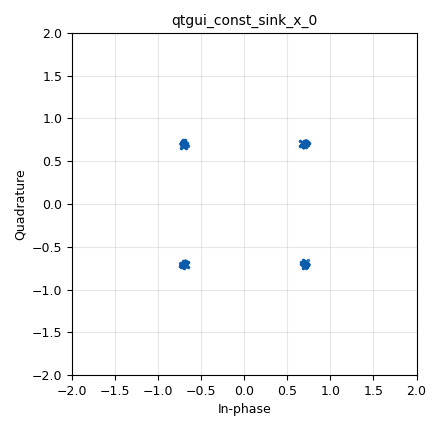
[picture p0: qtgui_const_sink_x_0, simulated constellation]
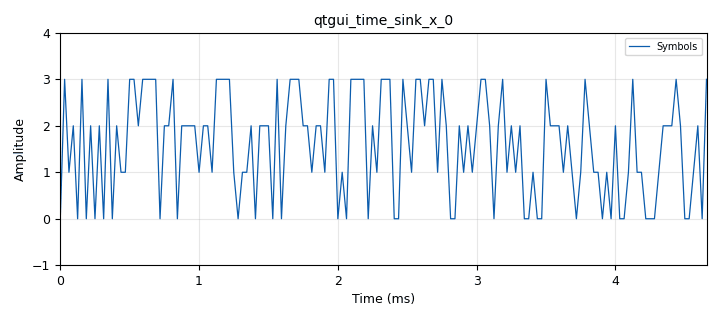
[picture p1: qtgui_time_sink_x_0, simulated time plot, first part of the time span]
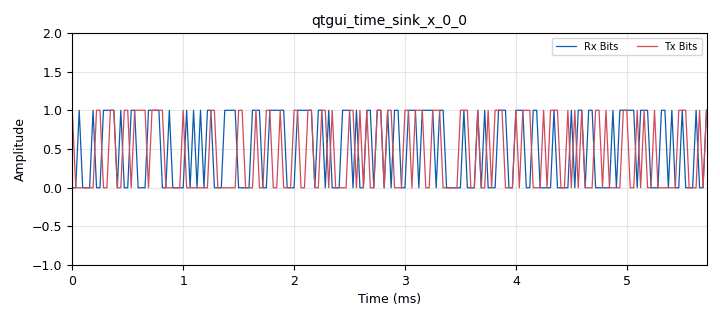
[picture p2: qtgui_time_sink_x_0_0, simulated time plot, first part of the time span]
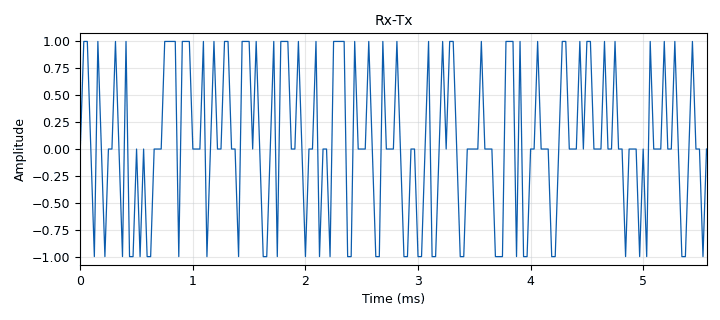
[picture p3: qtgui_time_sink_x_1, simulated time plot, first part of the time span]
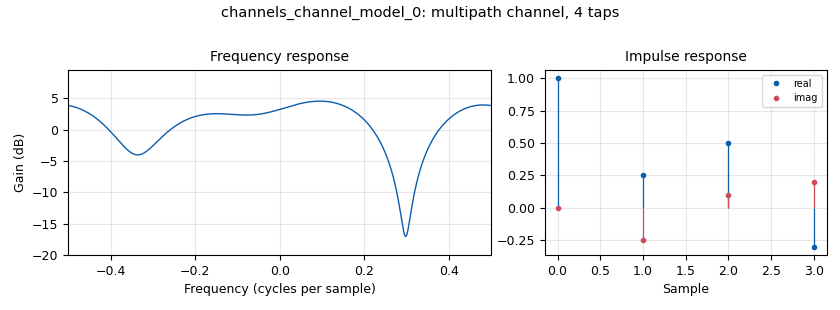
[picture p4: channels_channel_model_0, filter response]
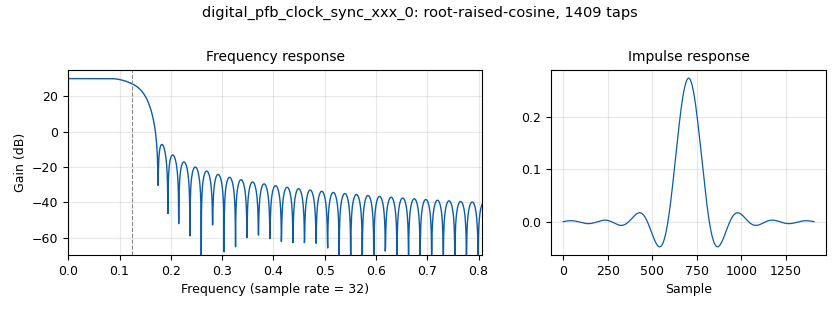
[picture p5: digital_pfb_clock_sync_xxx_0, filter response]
<?xml version='1.0' encoding='utf-8'?>
<?grc format='1' created='3.7.9'?>
<flow_graph>
<block>
<key>options</key>
<param><key>id</key><value>mpsk_stage6</value></param>
<param><key>category</key><value>Custom</value></param>
<param><key>generate_options</key><value>qt_gui</value></param>
</block>
<block>
<key>variable</key>
<param><key>id</key><value>arity</value></param>
<param><key>value</key><value>4</value></param>
</block>
<block>
<key>variable_qtgui_range</key>
<param><key>id</key><value>delay</value></param>
<param><key>value</key><value>58</value></param>
<param><key>gui_hint</key><value>1,0,1,1</value></param>
<param><key>label</key><value>Delay</value></param>
<param><key>orient</key><value>Qt.Horizontal</value></param>
<param><key>start</key><value>0</value></param>
<param><key>step</key><value>1</value></param>
<param><key>stop</key><value>200</value></param>
<param><key>rangeType</key><value>int</value></param>
</block>
<block>
<key>variable_qtgui_range</key>
<param><key>id</key><value>eq_gain</value></param>
<param><key>value</key><value>0.01</value></param>
<param><key>gui_hint</key><value>controls@1: 0,1,1,1</value></param>
<param><key>label</key><value>Equalizer: rate</value></param>
<param><key>orient</key><value>Qt.Horizontal</value></param>
<param><key>start</key><value>0.0</value></param>
<param><key>step</key><value>0.001</value></param>
<param><key>stop</key><value>0.1</value></param>
<param><key>widget</key><value>slider</value></param>
</block>
<block>
<key>variable</key>
<param><key>id</key><value>excess_bw</value></param>
<param><key>value</key><value>0.35</value></param>
</block>
<block>
<key>variable_qtgui_range</key>
<param><key>id</key><value>freq_offset</value></param>
<param><key>value</key><value>0</value></param>
<param><key>gui_hint</key><value>controls@0: 0,1,1,1</value></param>
<param><key>label</key><value>Frequency Offset</value></param>
<param><key>orient</key><value>Qt.Horizontal</value></param>
<param><key>start</key><value>-0.1</value></param>
<param><key>step</key><value>0.001</value></param>
<param><key>stop</key><value>0.1</value></param>
</block>
<block>
<key>variable</key>
<param><key>id</key><value>nfilts</value></param>
<param><key>value</key><value>32</value></param>
</block>
<block>
<key>variable_qtgui_range</key>
<param><key>id</key><value>noise_volt</value></param>
<param><key>value</key><value>0.0001</value></param>
<param><key>gui_hint</key><value>controls@0: 0,0,1,1</value></param>
<param><key>label</key><value>Noise Voltage</value></param>
<param><key>orient</key><value>Qt.Vertical</value></param>
<param><key>start</key><value>0</value></param>
<param><key>step</key><value>0.01</value></param>
<param><key>stop</key><value>1</value></param>
</block>
<block>
<key>variable_qtgui_range</key>
<param><key>id</key><value>phase_bw</value></param>
<param><key>value</key><value>6.28/100.0</value></param>
<param><key>gui_hint</key><value>controls@1: 0,2,1,1</value></param>
<param><key>label</key><value>Phase: Bandwidth</value></param>
<param><key>orient</key><value>Qt.Horizontal</value></param>
<param><key>start</key><value>0.0</value></param>
<param><key>step</key><value>0.01</value></param>
<param><key>stop</key><value>1.0</value></param>
<param><key>widget</key><value>slider</value></param>
</block>
<block>
<key>variable_constellation_rect</key>
<param><key>id</key><value>qpsk</value></param>
<param><key>const_points</key><value>[0.707+0.707j, -0.707+0.707j, -0.707-0.707j, 0.707-0.707j]</value></param>
<param><key>imag_sect</key><value>2</value></param>
<param><key>real_sect</key><value>2</value></param>
<param><key>rot_sym</key><value>4</value></param>
<param><key>sym_map</key><value>[0, 1, 2, 3]</value></param>
<param><key>w_imag_sect</key><value>1</value></param>
<param><key>w_real_sect</key><value>1</value></param>
</block>
<block>
<key>variable</key>
<param><key>id</key><value>rrc_taps</value></param>
<param><key>value</key><value>firdes.root_raised_cosine(nfilts, nfilts, 1.0/float(sps), 0.35, 11*sps*nfilts)</value></param>
</block>
<block>
<key>variable</key>
<param><key>id</key><value>samp_rate</value></param>
<param><key>value</key><value>32000</value></param>
</block>
<block>
<key>variable</key>
<param><key>id</key><value>sps</value></param>
<param><key>value</key><value>4</value></param>
</block>
<block>
<key>variable</key>
<param><key>id</key><value>taps</value></param>
<param><key>_enabled</key><value>False</value></param>
<param><key>value</key><value>[1.0 + 0.0j, ]</value></param>
</block>
<block>
<key>variable</key>
<param><key>id</key><value>taps</value></param>
<param><key>value</key><value>[1.0, 0.25-0.25j, 0.50 + 0.10j, -0.3 + 0.2j]</value></param>
</block>
<block>
<key>variable_qtgui_range</key>
<param><key>id</key><value>time_offset</value></param>
<param><key>value</key><value>1.00</value></param>
<param><key>gui_hint</key><value>controls@0: 0,2,1,1</value></param>
<param><key>label</key><value>Timing Offset</value></param>
<param><key>orient</key><value>Qt.Horizontal</value></param>
<param><key>start</key><value>0.999</value></param>
<param><key>step</key><value>0.0001</value></param>
<param><key>stop</key><value>1.001</value></param>
</block>
<block>
<key>variable_qtgui_range</key>
<param><key>id</key><value>timing_loop_bw</value></param>
<param><key>value</key><value>6.28/100.0</value></param>
<param><key>gui_hint</key><value>controls@1: 0,0,1,1</value></param>
<param><key>label</key><value>Time: BW</value></param>
<param><key>orient</key><value>Qt.Horizontal</value></param>
<param><key>start</key><value>0.0</value></param>
<param><key>step</key><value>0.01</value></param>
<param><key>stop</key><value>0.2</value></param>
<param><key>widget</key><value>slider</value></param>
</block>
<block>
<key>blocks_add_const_vxx</key>
<param><key>id</key><value>blocks_add_const_vxx_0</value></param>
<param><key>const</key><value>48</value></param>
<param><key>type</key><value>float</value></param>
</block>
<block>
<key>blocks_add_const_vxx</key>
<param><key>id</key><value>blocks_add_const_vxx_0_0</value></param>
<param><key>const</key><value>48</value></param>
<param><key>type</key><value>float</value></param>
</block>
<block>
<key>blocks_add_xx</key>
<param><key>id</key><value>blocks_add_xx_0</value></param>
<param><key>type</key><value>float</value></param>
</block>
<block>
<key>blocks_char_to_float</key>
<param><key>id</key><value>blocks_char_to_float_0</value></param>
<param><key>scale</key><value>1</value></param>
</block>
<block>
<key>blocks_char_to_float</key>
<param><key>id</key><value>blocks_char_to_float_0_0</value></param>
<param><key>scale</key><value>1</value></param>
</block>
<block>
<key>blocks_char_to_float</key>
<param><key>id</key><value>blocks_char_to_float_0_0_0</value></param>
<param><key>scale</key><value>1</value></param>
</block>
<block>
<key>blocks_delay</key>
<param><key>id</key><value>blocks_delay_0</value></param>
<param><key>delay</key><value>delay</value></param>
<param><key>type</key><value>float</value></param>
</block>
<block>
<key>blocks_delay</key>
<param><key>id</key><value>blocks_delay_0_0</value></param>
<param><key>delay</key><value>3</value></param>
<param><key>type</key><value>byte</value></param>
</block>
<block>
<key>blocks_file_sink</key>
<param><key>id</key><value>blocks_file_sink_0</value></param>
<param><key>file</key><value>/dev/pts/19</value></param>
<param><key>type</key><value>byte</value></param>
</block>
<block>
<key>blocks_file_sink</key>
<param><key>id</key><value>blocks_file_sink_0_0</value></param>
<param><key>file</key><value>/home/dfernandezp/sdr/BitsRx.txt</value></param>
<param><key>type</key><value>byte</value></param>
</block>
<block>
<key>blocks_file_sink</key>
<param><key>id</key><value>blocks_file_sink_0_0_0</value></param>
<param><key>file</key><value>/home/dfernandezp/sdr/BitsTx.txt</value></param>
<param><key>type</key><value>byte</value></param>
</block>
<block>
<key>blocks_float_to_uchar</key>
<param><key>id</key><value>blocks_float_to_uchar_0</value></param>
</block>
<block>
<key>blocks_float_to_uchar</key>
<param><key>id</key><value>blocks_float_to_uchar_0_0</value></param>
</block>
<block>
<key>blocks_multiply_const_vxx</key>
<param><key>id</key><value>blocks_multiply_const_vxx_0</value></param>
<param><key>const</key><value>-1</value></param>
<param><key>type</key><value>float</value></param>
</block>
<block>
<key>blocks_throttle</key>
<param><key>id</key><value>blocks_throttle_0</value></param>
<param><key>samples_per_second</key><value>samp_rate</value></param>
<param><key>type</key><value>complex</value></param>
</block>
<block>
<key>blocks_unpack_k_bits_bb</key>
<param><key>id</key><value>blocks_unpack_k_bits_bb_0</value></param>
<param><key>k</key><value>2</value></param>
</block>
<block>
<key>blocks_unpack_k_bits_bb</key>
<param><key>id</key><value>blocks_unpack_k_bits_bb_0_0</value></param>
<param><key>k</key><value>8</value></param>
</block>
<block>
<key>blocks_unpacked_to_packed_xx</key>
<param><key>id</key><value>blocks_unpacked_to_packed_xx_0</value></param>
<param><key>bits_per_chunk</key><value>2</value></param>
<param><key>endianness</key><value>gr.GR_MSB_FIRST</value></param>
<param><key>type</key><value>byte</value></param>
</block>
<block>
<key>blocks_vector_source_x</key>
<param><key>id</key><value>blocks_vector_source_x_0</value></param>
<param><key>type</key><value>byte</value></param>
<param><key>repeat</key><value>True</value></param>
<param><key>vector</key><value>list(ord(i) for i in 'The quick brown fox 0123456789...')</value></param>
</block>
<block>
<key>channels_channel_model</key>
<param><key>id</key><value>channels_channel_model_0</value></param>
<param><key>epsilon</key><value>time_offset</value></param>
<param><key>freq_offset</key><value>freq_offset</value></param>
<param><key>noise_voltage</key><value>noise_volt</value></param>
<param><key>seed</key><value>0</value></param>
<param><key>taps</key><value>taps</value></param>
</block>
<block>
<key>qtgui_tab_widget</key>
<param><key>id</key><value>controls</value></param>
<param><key>gui_hint</key><value>0,0,1,2</value></param>
<param><key>label0</key><value>Channel</value></param>
<param><key>label1</key><value>Receiver</value></param>
<param><key>num_tabs</key><value>2</value></param>
</block>
<block>
<key>digital_cma_equalizer_cc</key>
<param><key>id</key><value>digital_cma_equalizer_cc_0</value></param>
<param><key>mu</key><value>eq_gain</value></param>
<param><key>modulus</key><value>1</value></param>
<param><key>num_taps</key><value>15</value></param>
<param><key>sps</key><value>2</value></param>
</block>
<block>
<key>digital_constellation_modulator</key>
<param><key>id</key><value>digital_constellation_modulator_0</value></param>
<param><key>constellation</key><value>qpsk</value></param>
<param><key>differential</key><value>True</value></param>
<param><key>excess_bw</key><value>excess_bw</value></param>
<param><key>samples_per_symbol</key><value>sps</value></param>
</block>
<block>
<key>digital_constellation_receiver_cb</key>
<param><key>id</key><value>digital_constellation_receiver_cb_0</value></param>
<param><key>constellation</key><value>qpsk</value></param>
<param><key>loop_bw</key><value>62.5</value></param>
<param><key>fmax</key><value>100</value></param>
<param><key>fmin</key><value>-100</value></param>
<param><key>showports</key><value>True</value></param>
</block>
<block>
<key>digital_costas_loop_cc</key>
<param><key>id</key><value>digital_costas_loop_cc_0</value></param>
<param><key>w</key><value>phase_bw</value></param>
<param><key>order</key><value>arity</value></param>
</block>
<block>
<key>digital_diff_decoder_bb</key>
<param><key>id</key><value>digital_diff_decoder_bb_0</value></param>
<param><key>modulus</key><value>4</value></param>
</block>
<block>
<key>digital_map_bb</key>
<param><key>id</key><value>digital_map_bb_0</value></param>
<param><key>map</key><value>[0,1,3,2]</value></param>
</block>
<block>
<key>digital_pfb_clock_sync_xxx</key>
<param><key>id</key><value>digital_pfb_clock_sync_xxx_0</value></param>
<param><key>filter_size</key><value>nfilts</value></param>
<param><key>init_phase</key><value>nfilts/2</value></param>
<param><key>loop_bw</key><value>timing_loop_bw</value></param>
<param><key>max_dev</key><value>1.5</value></param>
<param><key>osps</key><value>2</value></param>
<param><key>sps</key><value>sps</value></param>
<param><key>taps</key><value>rrc_taps</value></param>
<param><key>type</key><value>ccf</value></param>
</block>
<block>
<key>qtgui_const_sink_x</key>
<param><key>id</key><value>qtgui_const_sink_x_0</value></param>
<param><key>gui_hint</key><value>received@0: 0,0,1,1</value></param>
<param><key>size</key><value>1024</value></param>
<param><key>type</key><value>complex</value></param>
</block>
<block>
<key>qtgui_time_sink_x</key>
<param><key>id</key><value>qtgui_time_sink_x_0</value></param>
<param><key>gui_hint</key><value>received@1: 0,0,1,1</value></param>
<param><key>color1</key><value>"blue"</value></param>
<param><key>label1</key><value>Symbols</value></param>
<param><key>name</key><value></value></param>
<param><key>size</key><value>500</value></param>
<param><key>srate</key><value>samp_rate</value></param>
<param><key>type</key><value>float</value></param>
<param><key>ymax</key><value>4</value></param>
</block>
<block>
<key>qtgui_time_sink_x</key>
<param><key>id</key><value>qtgui_time_sink_x_0_0</value></param>
<param><key>gui_hint</key><value>2,1,1,1</value></param>
<param><key>color1</key><value>"blue"</value></param>
<param><key>label1</key><value>Rx Bits</value></param>
<param><key>color2</key><value>"red"</value></param>
<param><key>label2</key><value>Tx Bits</value></param>
<param><key>name</key><value></value></param>
<param><key>nconnections</key><value>2</value></param>
<param><key>size</key><value>500</value></param>
<param><key>srate</key><value>samp_rate</value></param>
<param><key>type</key><value>float</value></param>
<param><key>ymax</key><value>2</value></param>
</block>
<block>
<key>qtgui_time_sink_x</key>
<param><key>id</key><value>qtgui_time_sink_x_1</value></param>
<param><key>color1</key><value>"blue"</value></param>
<param><key>label1</key><value></value></param>
<param><key>name</key><value>"Rx-Tx"</value></param>
<param><key>size</key><value>1024</value></param>
<param><key>srate</key><value>samp_rate</value></param>
<param><key>type</key><value>float</value></param>
</block>
<block>
<key>qtgui_tab_widget</key>
<param><key>id</key><value>received</value></param>
<param><key>gui_hint</key><value>2,0,1,1</value></param>
<param><key>label0</key><value>Constellation</value></param>
<param><key>label1</key><value>Symbols</value></param>
<param><key>num_tabs</key><value>2</value></param>
</block>
<connection><source_block_id>blocks_add_const_vxx_0</source_block_id><sink_block_id>blocks_float_to_uchar_0</sink_block_id><source_key>0</source_key><sink_key>0</sink_key></connection>
<connection><source_block_id>blocks_add_const_vxx_0_0</source_block_id><sink_block_id>blocks_float_to_uchar_0_0</sink_block_id><source_key>0</source_key><sink_key>0</sink_key></connection>
<connection><source_block_id>blocks_add_xx_0</source_block_id><sink_block_id>qtgui_time_sink_x_1</sink_block_id><source_key>0</source_key><sink_key>0</sink_key></connection>
<connection><source_block_id>blocks_char_to_float_0</source_block_id><sink_block_id>qtgui_time_sink_x_0</sink_block_id><source_key>0</source_key><sink_key>0</sink_key></connection>
<connection><source_block_id>blocks_char_to_float_0_0</source_block_id><sink_block_id>blocks_add_const_vxx_0</sink_block_id><source_key>0</source_key><sink_key>0</sink_key></connection>
<connection><source_block_id>blocks_char_to_float_0_0</source_block_id><sink_block_id>blocks_add_xx_0</sink_block_id><source_key>0</source_key><sink_key>0</sink_key></connection>
<connection><source_block_id>blocks_char_to_float_0_0</source_block_id><sink_block_id>qtgui_time_sink_x_0_0</sink_block_id><source_key>0</source_key><sink_key>0</sink_key></connection>
<connection><source_block_id>blocks_char_to_float_0_0_0</source_block_id><sink_block_id>blocks_add_const_vxx_0_0</sink_block_id><source_key>0</source_key><sink_key>0</sink_key></connection>
<connection><source_block_id>blocks_char_to_float_0_0_0</source_block_id><sink_block_id>blocks_delay_0</sink_block_id><source_key>0</source_key><sink_key>0</sink_key></connection>
<connection><source_block_id>blocks_delay_0</source_block_id><sink_block_id>blocks_multiply_const_vxx_0</sink_block_id><source_key>0</source_key><sink_key>0</sink_key></connection>
<connection><source_block_id>blocks_delay_0</source_block_id><sink_block_id>qtgui_time_sink_x_0_0</sink_block_id><source_key>0</source_key><sink_key>1</sink_key></connection>
<connection><source_block_id>blocks_delay_0_0</source_block_id><sink_block_id>blocks_unpacked_to_packed_xx_0</sink_block_id><source_key>0</source_key><sink_key>0</sink_key></connection>
<connection><source_block_id>blocks_float_to_uchar_0</source_block_id><sink_block_id>blocks_file_sink_0_0</sink_block_id><source_key>0</source_key><sink_key>0</sink_key></connection>
<connection><source_block_id>blocks_float_to_uchar_0_0</source_block_id><sink_block_id>blocks_file_sink_0_0_0</sink_block_id><source_key>0</source_key><sink_key>0</sink_key></connection>
<connection><source_block_id>blocks_multiply_const_vxx_0</source_block_id><sink_block_id>blocks_add_xx_0</sink_block_id><source_key>0</source_key><sink_key>1</sink_key></connection>
<connection><source_block_id>blocks_throttle_0</source_block_id><sink_block_id>channels_channel_model_0</sink_block_id><source_key>0</source_key><sink_key>0</sink_key></connection>
<connection><source_block_id>blocks_unpack_k_bits_bb_0</source_block_id><sink_block_id>blocks_char_to_float_0_0</sink_block_id><source_key>0</source_key><sink_key>0</sink_key></connection>
<connection><source_block_id>blocks_unpack_k_bits_bb_0_0</source_block_id><sink_block_id>blocks_char_to_float_0_0_0</sink_block_id><source_key>0</source_key><sink_key>0</sink_key></connection>
<connection><source_block_id>blocks_unpacked_to_packed_xx_0</source_block_id><sink_block_id>blocks_file_sink_0</sink_block_id><source_key>0</source_key><sink_key>0</sink_key></connection>
<connection><source_block_id>blocks_vector_source_x_0</source_block_id><sink_block_id>blocks_unpack_k_bits_bb_0_0</sink_block_id><source_key>0</source_key><sink_key>0</sink_key></connection>
<connection><source_block_id>blocks_vector_source_x_0</source_block_id><sink_block_id>digital_constellation_modulator_0</sink_block_id><source_key>0</source_key><sink_key>0</sink_key></connection>
<connection><source_block_id>channels_channel_model_0</source_block_id><sink_block_id>digital_pfb_clock_sync_xxx_0</sink_block_id><source_key>0</source_key><sink_key>0</sink_key></connection>
<connection><source_block_id>digital_cma_equalizer_cc_0</source_block_id><sink_block_id>digital_constellation_receiver_cb_0</sink_block_id><source_key>0</source_key><sink_key>0</sink_key></connection>
<connection><source_block_id>digital_cma_equalizer_cc_0</source_block_id><sink_block_id>digital_costas_loop_cc_0</sink_block_id><source_key>0</source_key><sink_key>0</sink_key></connection>
<connection><source_block_id>digital_constellation_modulator_0</source_block_id><sink_block_id>blocks_throttle_0</sink_block_id><source_key>0</source_key><sink_key>0</sink_key></connection>
<connection><source_block_id>digital_constellation_receiver_cb_0</source_block_id><sink_block_id>blocks_char_to_float_0</sink_block_id><source_key>0</source_key><sink_key>0</sink_key></connection>
<connection><source_block_id>digital_constellation_receiver_cb_0</source_block_id><sink_block_id>digital_map_bb_0</sink_block_id><source_key>0</source_key><sink_key>0</sink_key></connection>
<connection><source_block_id>digital_costas_loop_cc_0</source_block_id><sink_block_id>qtgui_const_sink_x_0</sink_block_id><source_key>0</source_key><sink_key>0</sink_key></connection>
<connection><source_block_id>digital_diff_decoder_bb_0</source_block_id><sink_block_id>blocks_delay_0_0</sink_block_id><source_key>0</source_key><sink_key>0</sink_key></connection>
<connection><source_block_id>digital_diff_decoder_bb_0</source_block_id><sink_block_id>blocks_unpack_k_bits_bb_0</sink_block_id><source_key>0</source_key><sink_key>0</sink_key></connection>
<connection><source_block_id>digital_map_bb_0</source_block_id><sink_block_id>digital_diff_decoder_bb_0</sink_block_id><source_key>0</source_key><sink_key>0</sink_key></connection>
<connection><source_block_id>digital_pfb_clock_sync_xxx_0</source_block_id><sink_block_id>digital_cma_equalizer_cc_0</sink_block_id><source_key>0</source_key><sink_key>0</sink_key></connection>
</flow_graph>
